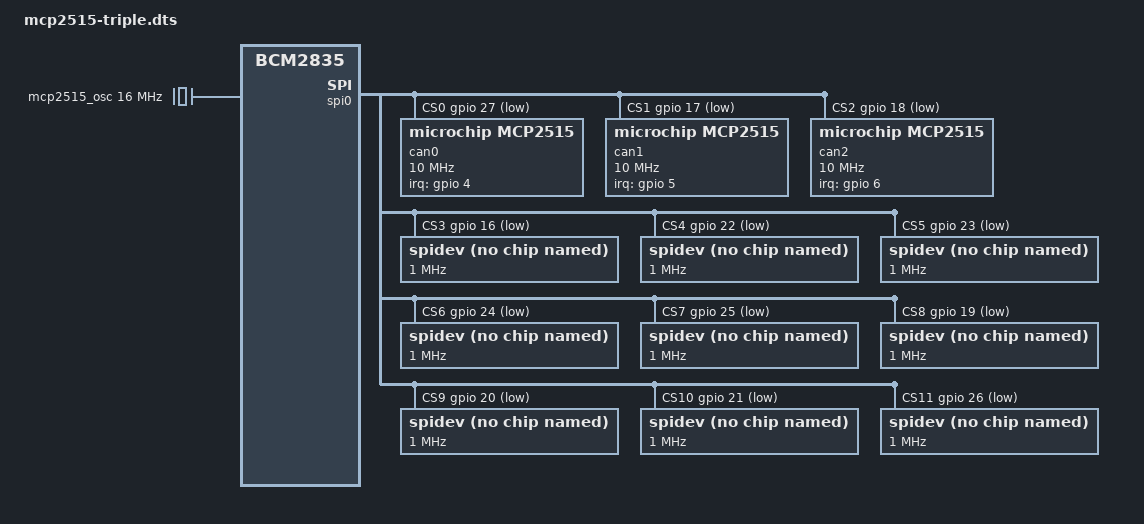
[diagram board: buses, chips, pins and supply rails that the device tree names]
/*
 * Device-tree overlay for the BACKPLANE_HIL PCB.
 *
 * Declares three MCP2515 CAN controllers on SPI0, each with its own
 * GPIO chip-select and interrupt line, matching the PCB wiring in
 * tools/hw_config.py:
 *
 *   can0  CS=GPIO27  INT=GPIO4   (U17, labelled CAN1)
 *   can1  CS=GPIO17  INT=GPIO5   (U19, labelled CAN2)
 *   can2  CS=GPIO18  INT=GPIO6   (U21, labelled CAN3)
 *
 * Replaces `dtoverlay=spi0-0cs` in /boot/firmware/config.txt. Once
 * loaded, the chips are owned by the kernel `mcp251x` driver — the
 * register-level Python driver in tools/mcp2515.py must NOT be used
 * against them concurrently.
 *
 * Supporting firmware-stage config.txt entries required alongside:
 *   gpio=7=op,dl     # assert PS_ON# early so PWR_OK is HIGH before
 *                    # the kernel probes mcp251x (the SPI MISO buffer
 *                    # SN74LVC125A ~OE is gated by PWR_OK).
 *   gpio=8=ip,pd     # PWR_OK as pulled-down input, not leftover SPI0_CE0.
 *
 * This overlay mirrors the structure of the stock `mcp2515-can0.dtbo`
 * (decompiled from /boot/firmware/overlays/mcp2515-can0.dtbo) and
 * extends it to three chips on custom CS GPIOs:
 *   - Per-device pinctrl state that configures the INT GPIO as input,
 *     applied at the right point in the device lifecycle.
 *   - IRQ_TYPE_LEVEL_LOW (= 8) on the interrupt, which is what the
 *     mcp251x driver expects with IRQF_ONESHOT.
 *   - cs-gpios = <27,17,18> to route the three kernel CS lines to our
 *     PCB CS pins.
 *   - pinctrl-0 on spi0 restricted to MISO/MOSI/SCLK only, so GPIO7/8
 *     stay reserved for PSU_ON/PWR_OK.
 */

/dts-v1/;
/plugin/;

/ {
    compatible = "brcm,bcm2835";

    /* Fixed-clock node that the mcp251x driver reads via clk_get_rate(). */
    fragment@0 {
        target-path = "/";
        __overlay__ {
            mcp2515_osc: mcp2515_osc {
                compatible = "fixed-clock";
                #clock-cells = <0>;
                clock-frequency = <16000000>;
            };
        };
    };

    /* Pinctrl states: SPI0 data pins, and one input state per INT pin. */
    fragment@1 {
        target = <&gpio>;
        __overlay__ {
            spi0_data_only_pins: spi0_data_only_pins {
                brcm,pins = <9 10 11>;
                brcm,function = <4>;             /* alt0 = SPI */
                brcm,pull = <0 0 0>;
            };

            can0_int_pin: can0_int_pin {
                brcm,pins = <4>;
                brcm,function = <0>;             /* input */
            };

            can1_int_pin: can1_int_pin {
                brcm,pins = <5>;
                brcm,function = <0>;
            };

            can2_int_pin: can2_int_pin {
                brcm,pins = <6>;
                brcm,function = <0>;
            };
        };
    };

    /* Disable default spidev children. */
    fragment@2 {
        target = <&spidev0>;
        __overlay__ {
            status = "disabled";
        };
    };

    fragment@3 {
        target = <&spidev1>;
        __overlay__ {
            status = "disabled";
        };
    };

    /* Configure SPI0: restrict pinctrl to data pins only, declare three
     * GPIO chip-selects, enable the master. */
    fragment@4 {
        target = <&spi0>;
        __overlay__ {
            #address-cells = <1>;
            #size-cells = <0>;
            status = "okay";
            pinctrl-names = "default";
            pinctrl-0 = <&spi0_data_only_pins>;
            /* CS pins, active-low. Eight entries:
             *   0..2: MCP2515 chips on GPIO27/17/18 (PCB)
             *   3:    GPIO16, unused on the PCB — spidev0.3, still no_cs=True +
             *         manual GPIO for the ADCs and the nRF24.
             *   4..7: DAC80504 chip-selects GPIO22/23/24/25 (J2 pads 15/16/18/22).
             *         Moved here from userspace GPIO. Asserting CS outside the SPI
             *         message is a race against the kernel mcp251x driver sharing
             *         this controller: between the broker's GPIO write and spidev's
             *         transfer the kernel is free to clock an MCP2515 message while
             *         the DAC is already selected, so the DAC shifts in edges meant
             *         for someone else. Measured under CAN load: DEVID 0x082E, the
             *         correct 0x0417 shifted left one bit -- one stray clock -- and,
             *         less often, a persistent latch only a rail power-cycle clears
             *         (IFS_HIL#124). With CS declared here the SPI core asserts it
             *         as part of the message, under the controller lock, and the
                        *   8..10: MCP3208 ADCs on GPIO19/20/21 (J2 pads 35/38/40), and
                        *   11:    the nRF24 on GPIO26 (J2 pad 37). Same reasoning as the
                        *          DACs: they used the shared spidev0.3 with userspace CS,
                        *          so they carried the identical race. Nothing had gone
                        *          wrong on them yet, but the mechanism does not care which
                        *          device is selected when a stray MCP2515 message clocks
                        *          the bus. The nRF24's CE and IRQ stay plain GPIO -- only
                        *          the chip-select belongs to the SPI core.
             *         window stops existing. */
            cs-gpios = <&gpio 27 1>, <&gpio 17 1>, <&gpio 18 1>, <&gpio 16 1>,
                       <&gpio 22 1>, <&gpio 23 1>, <&gpio 24 1>, <&gpio 25 1>,
                       <&gpio 19 1>, <&gpio 20 1>, <&gpio 21 1>, <&gpio 26 1>;

            can0: mcp2515@0 {
                reg = <0>;
                compatible = "microchip,mcp2515";
                pinctrl-names = "default";
                pinctrl-0 = <&can0_int_pin>;
                spi-max-frequency = <10000000>;
                /* SPI mode 3 (CPOL=1, CPHA=1). MCP2515 supports mode 0
                 * and mode 3; on this PCB with the SN74LVC125A MISO
                 * buffer, mode 0 drops the MSB on reads (confirmed via
                 * write-known / read-back test on spi0 at 1 MHz).
                 * Mode 3 round-trips cleanly. */
                spi-cpol;
                spi-cpha;
                interrupt-parent = <&gpio>;
                interrupts = <4 8>;              /* GPIO4, IRQ_TYPE_LEVEL_LOW */
                clocks = <&mcp2515_osc>;
                status = "okay";
            };

            can1: mcp2515@1 {
                reg = <1>;
                compatible = "microchip,mcp2515";
                pinctrl-names = "default";
                pinctrl-0 = <&can1_int_pin>;
                spi-max-frequency = <10000000>;
                spi-cpol;
                spi-cpha;
                interrupt-parent = <&gpio>;
                interrupts = <5 8>;              /* GPIO5, IRQ_TYPE_LEVEL_LOW */
                clocks = <&mcp2515_osc>;
                status = "okay";
            };

            can2: mcp2515@2 {
                reg = <2>;
                compatible = "microchip,mcp2515";
                pinctrl-names = "default";
                pinctrl-0 = <&can2_int_pin>;
                spi-max-frequency = <10000000>;
                spi-cpol;
                spi-cpha;
                interrupt-parent = <&gpio>;
                interrupts = <6 8>;              /* GPIO6, IRQ_TYPE_LEVEL_LOW */
                clocks = <&mcp2515_osc>;
                status = "okay";
            };

            /* /dev/spidev0.3 lives here so the register-level Python
             * driver keeps reaching the DACs, ADCs, and nRF24 via
             * no_cs=True + manual GPIO CS. GPIO16 is the nominal CS but
             * it is ignored in practice (no_cs=True) and is not wired
             * anywhere on the PCB. */
            spidev@3 {
                reg = <3>;
                compatible = "spidev";
                spi-max-frequency = <1000000>;
                status = "okay";
            };

            /* The four DAC80504s, one spidev each, CS owned by the kernel.
             *
             * spi-cpha with no spi-cpol is SPI MODE 1 (CPOL=0, CPHA=1): the
             * DAC80504 drives SDO on the rising edge of SCLK, so the master
             * must sample on the falling edge. The broker used to flip the
             * shared spidev between mode 0 and mode 1 around every DAC
             * transaction; declaring it per device means the SPI core
             * programs it per message and that juggling disappears too. */
            spidev@4 {
                reg = <4>;                       /* GPIO22 — J2 pad 15 */
                compatible = "spidev";
                spi-max-frequency = <1000000>;
                spi-cpha;
                status = "okay";
            };

            spidev@5 {
                reg = <5>;                       /* GPIO23 — J2 pad 16 */
                compatible = "spidev";
                spi-max-frequency = <1000000>;
                spi-cpha;
                status = "okay";
            };

            spidev@6 {
                reg = <6>;                       /* GPIO24 — J2 pad 18 */
                compatible = "spidev";
                spi-max-frequency = <1000000>;
                spi-cpha;
                status = "okay";
            };

            spidev@7 {
                reg = <7>;                       /* GPIO25 — J2 pad 22 */
                compatible = "spidev";
                spi-max-frequency = <1000000>;
                spi-cpha;
                status = "okay";
            };

            /* MCP3208 ADCs and the nRF24. Mode 0 (CPOL=0, CPHA=0) -- no
             * spi-cpol/spi-cpha -- which is what the shared node was set to
             * and what both parts expect (mcp3208.py:14, nrf24l01.py). The
             * MCP3208 tolerates 2 MHz; 1 MHz here matches SPI_MAX_HZ. */
            spidev@8 {
                reg = <8>;                      /* GPIO19 — J2 pad 35, ADC1 */
                compatible = "spidev";
                spi-max-frequency = <1000000>;
                status = "okay";
            };

            spidev@9 {
                reg = <9>;                      /* GPIO20 — J2 pad 38, ADC2 */
                compatible = "spidev";
                spi-max-frequency = <1000000>;
                status = "okay";
            };

            spidev@a {
                reg = <10>;                      /* GPIO21 — J2 pad 40, ADC3 */
                compatible = "spidev";
                spi-max-frequency = <1000000>;
                status = "okay";
            };

            spidev@b {
                reg = <11>;                      /* GPIO26 — J2 pad 37, nRF24 */
                compatible = "spidev";
                spi-max-frequency = <1000000>;
                status = "okay";
            };


        };
    };
};
